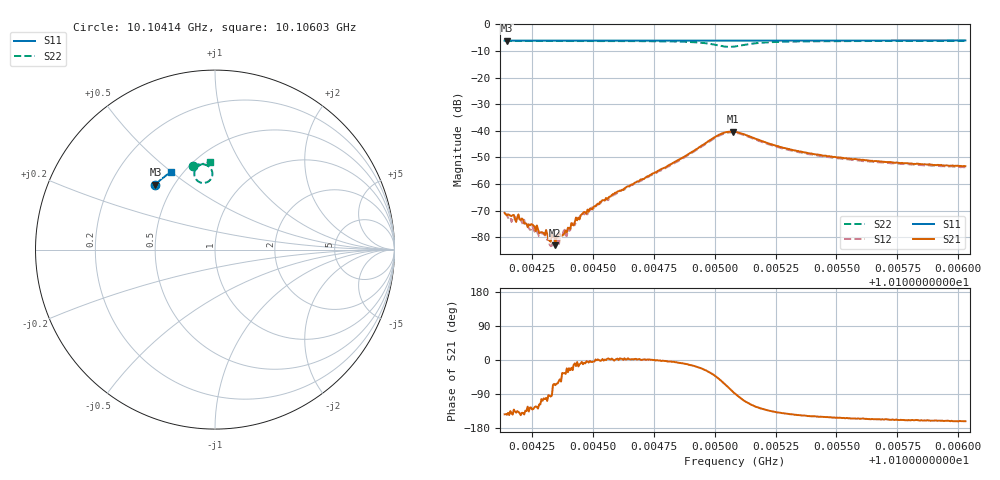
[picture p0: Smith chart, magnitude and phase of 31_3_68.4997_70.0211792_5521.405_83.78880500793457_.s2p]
#  HZ  S  RI  R  50.00
! Rohde & Schwarz Vector Network Analyzer
! Rohde-Schwarz,ZNB20-2Port,1311601062101988,3.16
! Created: UTC 3/20/2024, 4:49:56 PM
! freq[Hz]  re:S11  im:S11  re:S21  im:S21  re:S12  im:S12  re:S22  im:S22
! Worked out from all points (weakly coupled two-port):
!   401 points, 10.10414 GHz to 10.10603 GHz, reference 50 ohm
!   highest |S21| = -40.27 dB at 10.10507 GHz (marker M1); lowest = -83.0 dB at 10.10435 GHz (marker M2)
!   lowest |S11| = -6.2 dB at 10.10415 GHz (marker M3), VSWR 2.93, Z = 19.9 + j19 ohm
!   |S11| at or under -10 dB: nowhere
!   |S22| runs from -8.5 to -6.2 dB; largest |S21 - S12| = 0.00097
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1.0104138e10  -0.3327 0.3622  -0.000232 -0.000172  -0.000218 -0.000184  -0.1251 0.4675
1.0104148e10  -0.3321 0.3625  -0.00021 -0.00015  -0.000183 -0.000189  -0.1244 0.4678
1.0104162e10  -0.3315 0.3632  -0.00018 -0.000181  -0.000155 -0.000191  -0.1234 0.4681
1.0104209e10  -0.3295 0.3654  -0.000172 -0.000148  -0.000117 -0.000153  -0.12 0.4692
1.0104228e10  -0.3286 0.366  -0.000127 -0.000129  -0.000103 -0.000148  -0.1184 0.4695
1.010428e10  -0.3264 0.3683  -5.49e-05 -0.000106  -2.37e-05 -0.000102  -0.1145 0.4706
1.0104327e10  -0.3242 0.3704  -8.99e-06 -8.24e-05  3.37e-05 -5.97e-05  -0.1108 0.4714
1.0104346e10  -0.3234 0.3711  2.83e-05 -6.51e-05  5.44e-05 -5.8e-05  -0.1092 0.472
1.0104365e10  -0.3227 0.3719  7.27e-05 -8.99e-05  7.61e-05 -6.18e-05  -0.1078 0.472
1.0104375e10  -0.3221 0.3721  9.11e-05 -6.17e-05  8.29e-05 -5.78e-05  -0.1067 0.4723
1.0104398e10  -0.3211 0.3733  0.000129 -8.15e-05  0.000134 -5.3e-05  -0.1051 0.4726
1.0104408e10  -0.3206 0.3736  0.000128 -6.48e-05  0.000127 -4.96e-05  -0.1042 0.4729
1.0104455e10  -0.3186 0.3756  0.000268 -2.46e-05  0.000258 2.33e-05  -0.1 0.4737
1.0104592e10  -0.3124 0.3813  0.000691 7.18e-06  0.000633 0.000101  -0.0866 0.4756
1.0104772e10  -0.3041 0.3883  0.00179 -4.06e-05  0.00176 0.000122  -0.0629 0.475
1.0105013e10  -0.2923 0.3974  0.00558 -0.00599  0.00583 -0.00527  -0.0181 0.4025
1.0105074e10  -0.2897 0.3994  0.00115 -0.00962  0.00189 -0.00914  -0.0722 0.3716
1.0105084e10  -0.2894 0.3996  0.000169 -0.00958  0.00104 -0.00916  -0.0821 0.374
1.0105268e10  -0.2809 0.4069  -0.00377 -0.00325  -0.00333 -0.00346  -0.1021 0.4565
1.01054e10  -0.2745 0.4119  -0.00318 -0.00193  -0.00288 -0.00211  -0.0837 0.471
1.0105717e10  -0.2587 0.4229  -0.00239 -0.00099  -0.00219 -0.00114  -0.0528 0.4823
1.0106029e10  -0.2427 0.4331  -0.00206 -0.000685  -0.00191 -0.000826  -0.0286 0.4864
